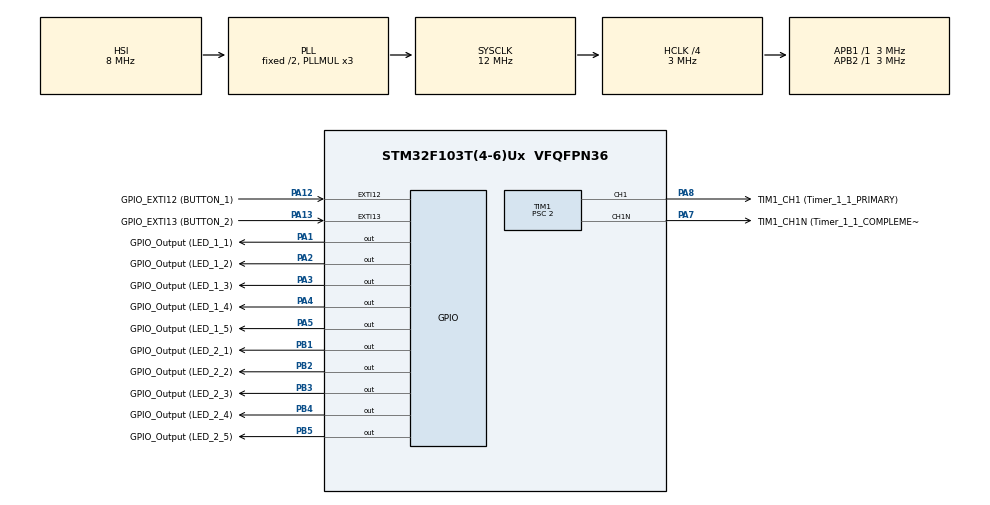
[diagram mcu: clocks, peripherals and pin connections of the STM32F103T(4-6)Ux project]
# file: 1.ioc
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Mcu.Family=STM32F1
Mcu.Name=STM32F103T(4-6)Ux
Mcu.Package=VFQFPN36
NVIC.EXTI15_10_IRQn=true\:0\:0\:false\:false\:true\:true\:true\:true
NVIC.PriorityGroup=NVIC_PRIORITYGROUP_4
NVIC.TIM1_BRK_IRQn=true\:0\:0\:false\:false\:true\:true\:true\:true
NVIC.TIM1_CC_IRQn=true\:0\:0\:false\:false\:true\:true\:true\:true
NVIC.TIM1_TRG_COM_IRQn=true\:0\:0\:false\:false\:true\:true\:true\:true
NVIC.TIM1_UP_IRQn=true\:0\:0\:false\:false\:true\:true\:true\:true
NVIC.TIM2_IRQn=true\:0\:0\:false\:false\:true\:true\:true\:true
PA1.GPIO_Label=GPIO_Output (LED_1_1)
PA1.Signal=GPIO_Output
PA12.GPIO_Label=GPIO_EXTI12 (BUTTON_1)
PA12.Signal=GPXTI12
PA13.GPIO_Label=GPIO_EXTI13 (BUTTON_2)
PA13.Signal=GPXTI13
PA2.GPIO_Label=GPIO_Output (LED_1_2)
PA2.Signal=GPIO_Output
PA3.GPIO_Label=GPIO_Output (LED_1_3)
PA3.Signal=GPIO_Output
PA4.GPIO_Label=GPIO_Output (LED_1_4)
PA4.Signal=GPIO_Output
PA5.GPIO_Label=GPIO_Output (LED_1_5)
PA5.Signal=GPIO_Output
PA7.GPIO_Label=TIM1_CH1N (Timer_1_1_COMPLEMENTARY)
PA7.Mode=PWM Generation1 CH1 CH1N
PA7.Signal=TIM1_CH1N
PA8.GPIO_Label=TIM1_CH1 (Timer_1_1_PRIMARY)
PA8.Signal=S_TIM1_CH1
PB1.GPIO_Label=GPIO_Output (LED_2_1)
PB1.Signal=GPIO_Output
PB2.GPIO_Label=GPIO_Output (LED_2_2)
PB2.Signal=GPIO_Output
PB3.GPIO_Label=GPIO_Output (LED_2_3)
PB3.Signal=GPIO_Output
PB4.GPIO_Label=GPIO_Output (LED_2_4)
PB4.Signal=GPIO_Output
PB5.GPIO_Label=GPIO_Output (LED_2_5)
PB5.Signal=GPIO_Output
ProjectManager.HeapSize=0x200
ProjectManager.StackSize=0x400
ProjectManager.TargetToolchain=STM32CubeIDE
RCC.AHBCLKDivider=RCC_SYSCLK_DIV4
RCC.AHBFreq_Value=3000000
RCC.APB1Freq_Value=3000000
RCC.APB1TimFreq_Value=3000000
RCC.APB2Freq_Value=3000000
RCC.APB2TimFreq_Value=3000000
RCC.HCLKFreq_Value=3000000
RCC.PLLMUL=RCC_PLL_MUL3
RCC.SYSCLKFreq_VALUE=12000000
RCC.SYSCLKSource=RCC_SYSCLKSOURCE_PLLCLK
RCC.USBFreq_Value=12000000
SH.S_TIM1_CH1.0=TIM1_CH1,PWM Generation1 CH1 CH1N
TIM1.Channel-PWM\ Generation1\ CH1\ CH1N=TIM_CHANNEL_1
TIM1.OCNPolarity_1=TIM_OCNPOLARITY_LOW
TIM1.Period=999
TIM1.Prescaler=2
TIM1.Pulse-PWM\ Generation1\ CH1\ CH1N=500
TIM2.Period=3299
TIM2.Prescaler=2999
VP_SYS_VS_ND.Mode=No_Debug
VP_TIM1_VS_ClockSourceINT.Mode=Internal
VP_TIM2_VS_ClockSourceINT.Mode=Internal
board=custom

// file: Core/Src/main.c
/* USER CODE BEGIN Header */
/**
  ******************************************************************************
  * @file           : main.c
  * @brief          : Main program body
  ******************************************************************************
  * @attention
  *
  * Copyright (c) 2025 STMicroelectronics.
  * All rights reserved.
  *
  * This software is licensed under terms that can be found in the LICENSE file
  * in the root directory of this software component.
  * If no LICENSE file comes with this software, it is provided AS-IS.
  *
  ******************************************************************************
  */
/* USER CODE END Header */
#include "main.h"

/* USER CODE BEGIN PD */
#define GROUP_1_INDEX 1
#define GROUP_2_INDEX 2

static const uint16_t BUTTON_1 = GPIO_PIN_12;
static const uint16_t BUTTON_2 = GPIO_PIN_13;
static const uint16_t LED_GROUP_1 = GPIO_PIN_1 | GPIO_PIN_2 | GPIO_PIN_3 | GPIO_PIN_4 | GPIO_PIN_5;
static const uint16_t LED_GROUP_2 = GPIO_PIN_1 | GPIO_PIN_2 | GPIO_PIN_3 | GPIO_PIN_4 | GPIO_PIN_5;

static volatile uint8_t active_group_index;
/* USER CODE END PD */

TIM_HandleTypeDef htim1;
TIM_HandleTypeDef htim2;

void SystemClock_Config(void);
static void MX_GPIO_Init(void);
static void MX_TIM2_Init(void);
static void MX_TIM1_Init(void);

/* USER CODE BEGIN 0 */

void HAL_GPIO_EXTI_Callback(uint16_t exti) {
    if (exti == BUTTON_1) {
    	active_group_index = GROUP_1_INDEX;
        HAL_GPIO_WritePin(GPIOA, LED_GROUP_1, GPIO_PIN_SET);
        HAL_GPIO_WritePin(GPIOB, LED_GROUP_2, GPIO_PIN_RESET);
    } else if (exti == BUTTON_2) {
    	active_group_index = GROUP_2_INDEX;
        HAL_GPIO_WritePin(GPIOB, LED_GROUP_2, GPIO_PIN_SET);
        HAL_GPIO_WritePin(GPIOA, LED_GROUP_1, GPIO_PIN_RESET);
    }
}

void HAL_TIM_PeriodElapsedCallback(TIM_HandleTypeDef *htim) {
    if (htim->Instance == TIM2) {
    	switch (active_group_index) {
    	case GROUP_1_INDEX:
            HAL_GPIO_TogglePin(GPIOA, LED_GROUP_1);
            break;
    	case GROUP_2_INDEX:
    		HAL_GPIO_TogglePin(GPIOB, LED_GROUP_2);
            break;
    	}
    }
}

/* USER CODE END 0 */

int main(void)
{

  /* MCU Configuration--------------------------------------------------------*/

  /* Reset of all peripherals, Initializes the Flash interface and the Systick. */
  HAL_Init();

  /* Configure the system clock */
  SystemClock_Config();

  /* Initialize all configured peripherals */
  MX_GPIO_Init();
  MX_TIM2_Init();
  MX_TIM1_Init();
  /* USER CODE BEGIN 2 */

  active_group_index = GROUP_2_INDEX;
  HAL_GPIO_WritePin(GPIOB, LED_GROUP_2, GPIO_PIN_SET);
  HAL_GPIO_WritePin(GPIOA, LED_GROUP_1, GPIO_PIN_RESET);

  HAL_TIM_Base_Start_IT(&htim2);
  HAL_TIM_PWM_Start(&htim1, TIM_CHANNEL_1);
  HAL_TIMEx_PWMN_Start(&htim1, TIM_CHANNEL_1);

  /* USER CODE END 2 */

  /* Infinite loop */
  while (1)
  {

  }
}

void SystemClock_Config(void)
{
  RCC_OscInitTypeDef RCC_OscInitStruct = {0};
  RCC_ClkInitTypeDef RCC_ClkInitStruct = {0};

  /** Initializes the RCC Oscillators according to the specified parameters
  * in the RCC_OscInitTypeDef structure.
  */
  RCC_OscInitStruct.OscillatorType = RCC_OSCILLATORTYPE_HSI;
  RCC_OscInitStruct.HSIState = RCC_HSI_ON;
  RCC_OscInitStruct.HSICalibrationValue = RCC_HSICALIBRATION_DEFAULT;
  RCC_OscInitStruct.PLL.PLLState = RCC_PLL_ON;
  RCC_OscInitStruct.PLL.PLLSource = RCC_PLLSOURCE_HSI_DIV2;
  RCC_OscInitStruct.PLL.PLLMUL = RCC_PLL_MUL3;
  if (HAL_RCC_OscConfig(&RCC_OscInitStruct) != HAL_OK)
  {
    Error_Handler();
  }

  /** Initializes the CPU, AHB and APB buses clocks
  */
  RCC_ClkInitStruct.ClockType = RCC_CLOCKTYPE_HCLK|RCC_CLOCKTYPE_SYSCLK
                              |RCC_CLOCKTYPE_PCLK1|RCC_CLOCKTYPE_PCLK2;
  RCC_ClkInitStruct.SYSCLKSource = RCC_SYSCLKSOURCE_PLLCLK;
  RCC_ClkInitStruct.AHBCLKDivider = RCC_SYSCLK_DIV4;
  RCC_ClkInitStruct.APB1CLKDivider = RCC_HCLK_DIV1;
  RCC_ClkInitStruct.APB2CLKDivider = RCC_HCLK_DIV1;

  if (HAL_RCC_ClockConfig(&RCC_ClkInitStruct, FLASH_LATENCY_0) != HAL_OK)
  {
    Error_Handler();
  }
}

static void MX_TIM1_Init(void)
{

  TIM_ClockConfigTypeDef sClockSourceConfig = {0};
  TIM_MasterConfigTypeDef sMasterConfig = {0};
  TIM_OC_InitTypeDef sConfigOC = {0};
  TIM_BreakDeadTimeConfigTypeDef sBreakDeadTimeConfig = {0};

  htim1.Instance = TIM1;
  htim1.Init.Prescaler = 2;
  htim1.Init.CounterMode = TIM_COUNTERMODE_UP;
  htim1.Init.Period = 999;
  htim1.Init.ClockDivision = TIM_CLOCKDIVISION_DIV1;
  htim1.Init.RepetitionCounter = 0;
  htim1.Init.AutoReloadPreload = TIM_AUTORELOAD_PRELOAD_DISABLE;
  if (HAL_TIM_Base_Init(&htim1) != HAL_OK)
  {
    Error_Handler();
  }
  sClockSourceConfig.ClockSource = TIM_CLOCKSOURCE_INTERNAL;
  if (HAL_TIM_ConfigClockSource(&htim1, &sClockSourceConfig) != HAL_OK)
  {
    Error_Handler();
  }
  if (HAL_TIM_PWM_Init(&htim1) != HAL_OK)
  {
    Error_Handler();
  }
  sMasterConfig.MasterOutputTrigger = TIM_TRGO_RESET;
  sMasterConfig.MasterSlaveMode = TIM_MASTERSLAVEMODE_DISABLE;
  if (HAL_TIMEx_MasterConfigSynchronization(&htim1, &sMasterConfig) != HAL_OK)
  {
    Error_Handler();
  }
  sConfigOC.OCMode = TIM_OCMODE_PWM1;
  sConfigOC.Pulse = 500;
  sConfigOC.OCPolarity = TIM_OCPOLARITY_HIGH;
  sConfigOC.OCNPolarity = TIM_OCNPOLARITY_LOW;
  sConfigOC.OCFastMode = TIM_OCFAST_DISABLE;
  sConfigOC.OCIdleState = TIM_OCIDLESTATE_RESET;
  sConfigOC.OCNIdleState = TIM_OCNIDLESTATE_RESET;
  if (HAL_TIM_PWM_ConfigChannel(&htim1, &sConfigOC, TIM_CHANNEL_1) != HAL_OK)
  {
    Error_Handler();
  }
  sBreakDeadTimeConfig.OffStateRunMode = TIM_OSSR_DISABLE;
  sBreakDeadTimeConfig.OffStateIDLEMode = TIM_OSSI_DISABLE;
  sBreakDeadTimeConfig.LockLevel = TIM_LOCKLEVEL_OFF;
  sBreakDeadTimeConfig.DeadTime = 0;
  sBreakDeadTimeConfig.BreakState = TIM_BREAK_DISABLE;
  sBreakDeadTimeConfig.BreakPolarity = TIM_BREAKPOLARITY_HIGH;
  sBreakDeadTimeConfig.AutomaticOutput = TIM_AUTOMATICOUTPUT_DISABLE;
  if (HAL_TIMEx_ConfigBreakDeadTime(&htim1, &sBreakDeadTimeConfig) != HAL_OK)
  {
    Error_Handler();
  }
  HAL_TIM_MspPostInit(&htim1);

}

static void MX_TIM2_Init(void)
{

  TIM_ClockConfigTypeDef sClockSourceConfig = {0};
  TIM_MasterConfigTypeDef sMasterConfig = {0};

  htim2.Instance = TIM2;
  htim2.Init.Prescaler = 2999;
  htim2.Init.CounterMode = TIM_COUNTERMODE_UP;
  htim2.Init.Period = 3299;
  htim2.Init.ClockDivision = TIM_CLOCKDIVISION_DIV1;
  htim2.Init.AutoReloadPreload = TIM_AUTORELOAD_PRELOAD_DISABLE;
  if (HAL_TIM_Base_Init(&htim2) != HAL_OK)
  {
    Error_Handler();
  }
  sClockSourceConfig.ClockSource = TIM_CLOCKSOURCE_INTERNAL;
  if (HAL_TIM_ConfigClockSource(&htim2, &sClockSourceConfig) != HAL_OK)
  {
    Error_Handler();
  }
  sMasterConfig.MasterOutputTrigger = TIM_TRGO_RESET;
  sMasterConfig.MasterSlaveMode = TIM_MASTERSLAVEMODE_DISABLE;
  if (HAL_TIMEx_MasterConfigSynchronization(&htim2, &sMasterConfig) != HAL_OK)
  {
    Error_Handler();
  }

}

static void MX_GPIO_Init(void)
{
  GPIO_InitTypeDef GPIO_InitStruct = {0};

  /* GPIO Ports Clock Enable */
  __HAL_RCC_GPIOA_CLK_ENABLE();
  __HAL_RCC_GPIOB_CLK_ENABLE();

  /*Configure GPIO pin Output Level */
  HAL_GPIO_WritePin(GPIOA, GPIO_Output_Pin|GPIO_OutputA2_Pin|GPIO_OutputA3_Pin|GPIO_OutputA4_Pin
                          |GPIO_OutputA5_Pin, GPIO_PIN_RESET);

  /*Configure GPIO pin Output Level */
  HAL_GPIO_WritePin(GPIOB, GPIO_OutputB1_Pin|GPIO_OutputB2_Pin|GPIO_OutputB3_Pin|GPIO_OutputB4_Pin
                          |GPIO_OutputB5_Pin, GPIO_PIN_RESET);

  /*Configure GPIO pins : GPIO_Output_Pin GPIO_OutputA2_Pin GPIO_OutputA3_Pin GPIO_OutputA4_Pin
                           GPIO_OutputA5_Pin */
  GPIO_InitStruct.Pin = GPIO_Output_Pin|GPIO_OutputA2_Pin|GPIO_OutputA3_Pin|GPIO_OutputA4_Pin
                          |GPIO_OutputA5_Pin;
  GPIO_InitStruct.Mode = GPIO_MODE_OUTPUT_PP;
  GPIO_InitStruct.Pull = GPIO_NOPULL;
  GPIO_InitStruct.Speed = GPIO_SPEED_FREQ_LOW;
  HAL_GPIO_Init(GPIOA, &GPIO_InitStruct);

  /*Configure GPIO pins : GPIO_OutputB1_Pin GPIO_OutputB2_Pin GPIO_OutputB3_Pin GPIO_OutputB4_Pin
                           GPIO_OutputB5_Pin */
  GPIO_InitStruct.Pin = GPIO_OutputB1_Pin|GPIO_OutputB2_Pin|GPIO_OutputB3_Pin|GPIO_OutputB4_Pin
                          |GPIO_OutputB5_Pin;
  GPIO_InitStruct.Mode = GPIO_MODE_OUTPUT_PP;
  GPIO_InitStruct.Pull = GPIO_NOPULL;
  GPIO_InitStruct.Speed = GPIO_SPEED_FREQ_LOW;
  HAL_GPIO_Init(GPIOB, &GPIO_InitStruct);

  /*Configure GPIO pins : GPIO_EXTI12_Pin GPIO_EXTI13_Pin */
  GPIO_InitStruct.Pin = GPIO_EXTI12_Pin|GPIO_EXTI13_Pin;
  GPIO_InitStruct.Mode = GPIO_MODE_IT_RISING;
  GPIO_InitStruct.Pull = GPIO_NOPULL;
  HAL_GPIO_Init(GPIOA, &GPIO_InitStruct);

  /* EXTI interrupt init*/
  HAL_NVIC_SetPriority(EXTI15_10_IRQn, 0, 0);
  HAL_NVIC_EnableIRQ(EXTI15_10_IRQn);

}

void Error_Handler(void)
{
  __disable_irq();
  while (1)
  {
  }
}
